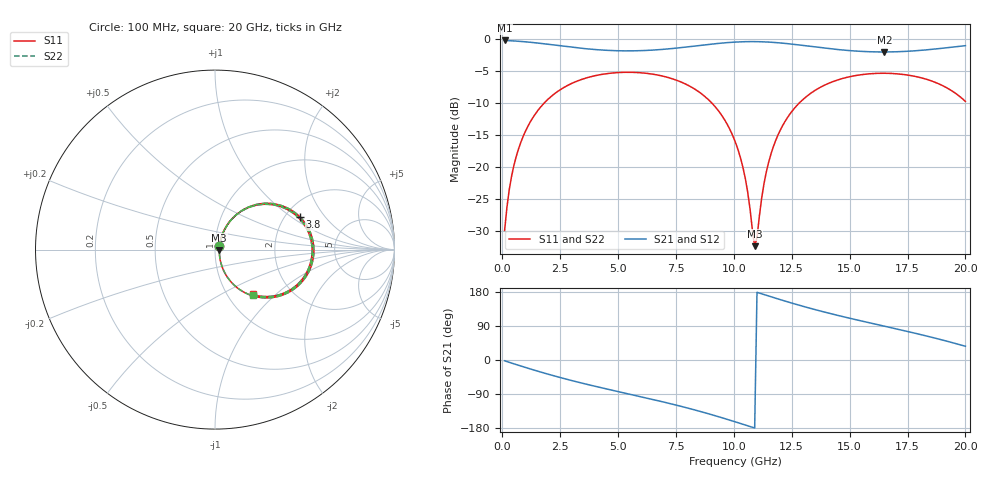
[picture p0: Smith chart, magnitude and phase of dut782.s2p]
! Touchstone file exported from HFSS 2026.1.0
!  File:  C:/ffzhzh/LocalFiles/Ansys_Project_Files/temp_train_TSV_RDL_782_1783210851_43440.aedt
!  Generated:  08:34:37 AM Jul  5, 2026
!  Design:  TSV_RDL
!  Project:  temp_train_TSV_RDL_782_1783210851_43440
! Variables:
!  h_bsmrdl = 4.48um
!  h_ox = 20um
!  h_rdl = 5um
!  h_sub = 80.51um
!  h_tmrdl = 2.58um
!  h_tsv = 80.51um
!  h_via = 3um
!  l_bsmrdl = 571.03um
!  l_sub = 5573.57um
!  l_tmrdl = 830.05um
!  m_sub = 200um
!  pitch = 57.79um
!  r_tsv = 11.4um
!  s_tmrdl = 10um
!  w_bsmrdl = 17.4um
!  w_sub = 500um
!  w_tmrdl = 29.36um
!  x_tsv_center1 = 844.73um
!  x_tsv_center2 = 1433.16um
!  x_tsv_center3 = 2292.57um
!  x_tsv_center4 = 2881um
!  x_tsv_center5 = 3740.41um
!  x_tsv_center6 = 4328.84um
# GHz S MA R 50.000000
! Terminal data exported
! Port[1] = TM_RDL1_1_T1
! Port[2] = TM_RDL5_1_T1
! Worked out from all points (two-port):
!   200 points, 100 MHz to 20 GHz, reference 50 ohm
!   highest |S21| = -0.22 dB at 100 MHz (marker M1); lowest = -2.0 dB at 16.5 GHz (marker M2)
!   |S21| within 3 dB of the highest: start of sweep to end of sweep
!   lowest |S11| = -32.3 dB at 10.9 GHz (marker M3), VSWR 1.05, Z = 52.5 - j0.414 ohm
!   |S11| at or under -10 dB: start of sweep to 1.804 GHz; 9.055 GHz to 12.82 GHz (3.764 GHz wide, 34.4 % of centre)
!   |S22| runs from -32.1 to -5.2 dB; largest |S21 - S12| = 1.7e-14
!   S11 on the Smith chart (normalised r, x): 100 MHz: 1.05, +0.04; 3.8 GHz: 2.40, +1.17; 20 GHz: 1.30, -0.73
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0.1  0.03215 39.0  0.9755 -2.1  0.9755 -2.1  0.03215 39.0
! Gamma 0 0 0 0
! Port Impedance 50 0 50 0
0.3  0.06677 60.6  0.9717 -6.1  0.9717 -6.1  0.06677 60.6
0.5  0.1031 64.1  0.967 -10.1  0.967 -10.1  0.1031 64.1
1.1  0.208 60.2  0.9485 -21.6  0.9485 -21.6  0.208 60.2
2.1  0.3556 45.8  0.9052 -39.5  0.9052 -39.5  0.3556 45.8
3.5  0.4895 25.1  0.8447 -61.9  0.8447 -61.9  0.4895 25.1
3.8  0.5076 20.9  0.8347 -66.4  0.8347 -66.4  0.5076 20.9
5.3  0.5508 0.8  0.8093 -87.5  0.8093 -87.5  0.5508 0.8
6.8  0.5204 -19.3  0.8277 -108.5  0.8277 -108.5  0.5204 -19.3
8.8  0.3502 -48.7  0.9036 -140.0  0.9036 -140.0  0.3503 -48.7
10.1  0.1512 -66.8  0.9484 -163.9  0.9484 -163.9  0.1513 -66.6
10.5  0.081 -66.2  0.9545 -171.7  0.9545 -171.7  0.08111 -65.9
10.9  0.02427 -9.4  0.9556 -179.5  0.9556 -179.5  0.02476 -9.1
11.4  0.09154 64.2  0.9497 170.8  0.9497 170.8  0.09172 63.9
11.8  0.1607 63.4  0.9397 163.2  0.9397 163.2  0.1608 63.2
12.5  0.2718 54.3  0.9137 150.2  0.9137 150.2  0.2719 54.2
13.4  0.3867 40.8  0.8732 134.7  0.8732 134.7  0.3868 40.7
15  0.5086 18.0  0.8131 110.2  0.8131 110.2  0.5087 17.9
16.5  0.5414 -1.7  0.7934 89.3  0.7934 89.3  0.5415 -1.8
16.7  0.5405 -4.3  0.7939 86.5  0.7939 86.5  0.5406 -4.4
18.5  0.474 -28.4  0.8299 60.7  0.8299 60.7  0.4741 -28.5
20  0.3267 -49.8  0.8883 36.2  0.8883 36.2  0.3267 -50.0
